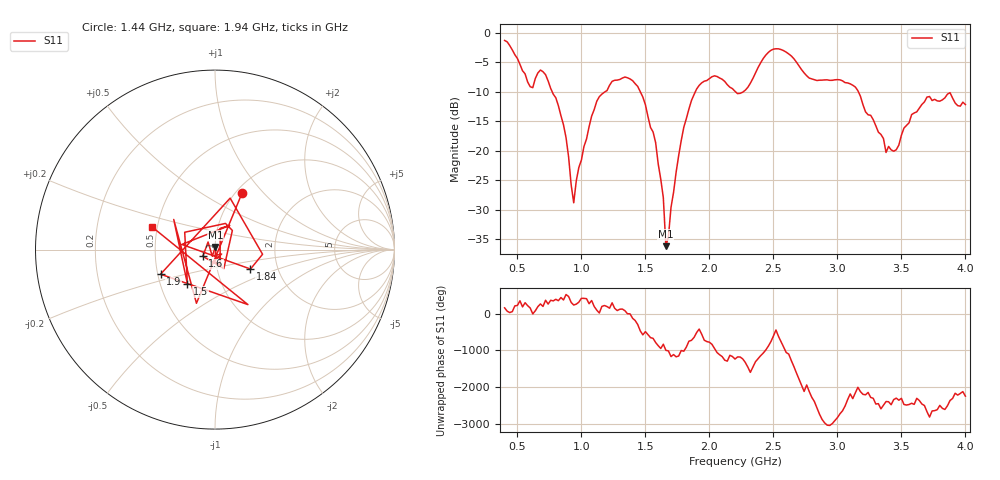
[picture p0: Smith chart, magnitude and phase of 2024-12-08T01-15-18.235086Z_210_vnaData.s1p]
!Created with skrf (http://scikit-rf.org).
# Hz S RI R 50.0
!freq ReS11 ImS11
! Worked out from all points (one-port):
!   181 points, 400 MHz to 4 GHz, reference 50 ohm
!   lowest |S11| = -36.2 dB at 1.66 GHz (marker M1), VSWR 1.03, Z = 50.2 + j1.54 ohm
!   |S11| at or under -10 dB: 771.3 MHz to 1.186 GHz (415 MHz wide, 42.4 % of centre); 1.46 GHz to 1.891 GHz (430.4 MHz wide, 25.7 % of centre); 3.164 GHz to end of sweep (the widest 3 of 4)
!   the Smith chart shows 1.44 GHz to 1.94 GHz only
!   S11 on the Smith chart (normalised r, x): 1.44 GHz: 1.07, +0.77; 1.5 GHz: 0.69, -0.28; 1.6 GHz: 0.87, -0.07; 1.84 GHz: 1.45, -0.33; 1.9 GHz: 0.52, -0.16; 1.94 GHz: 0.47, +0.14
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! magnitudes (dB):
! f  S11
! 400 MHz  -1.3
! 600 MHz  -9.2
! 720 MHz  -7.1
! 860 MHz  -15.6
! 940 MHz  -28.8
! 980 MHz  -22.8
! 1.12 GHz  -11.6
! 1.3 GHz  -7.9
! 1.44 GHz  -9.1
! 1.5 GHz  -12.2
! 1.6 GHz  -22.2
! 1.64 GHz  -28.0
! 1.66 GHz  -36.2
! 1.76 GHz  -20.8
! 1.84 GHz  -12.9
! 1.9 GHz  -9.6
! 1.94 GHz  -8.5
! 2.2 GHz  -9.9
! 2.3 GHz  -9.3
! 2.48 GHz  -3.0
! 2.66 GHz  -4.4
! 2.78 GHz  -7.7
! 3.1 GHz  -8.7
! 3.38 GHz  -20.3
! 3.46 GHz  -19.8
! 3.56 GHz  -15.3
! 3.7 GHz  -10.9
! 4 GHz  -12.2
